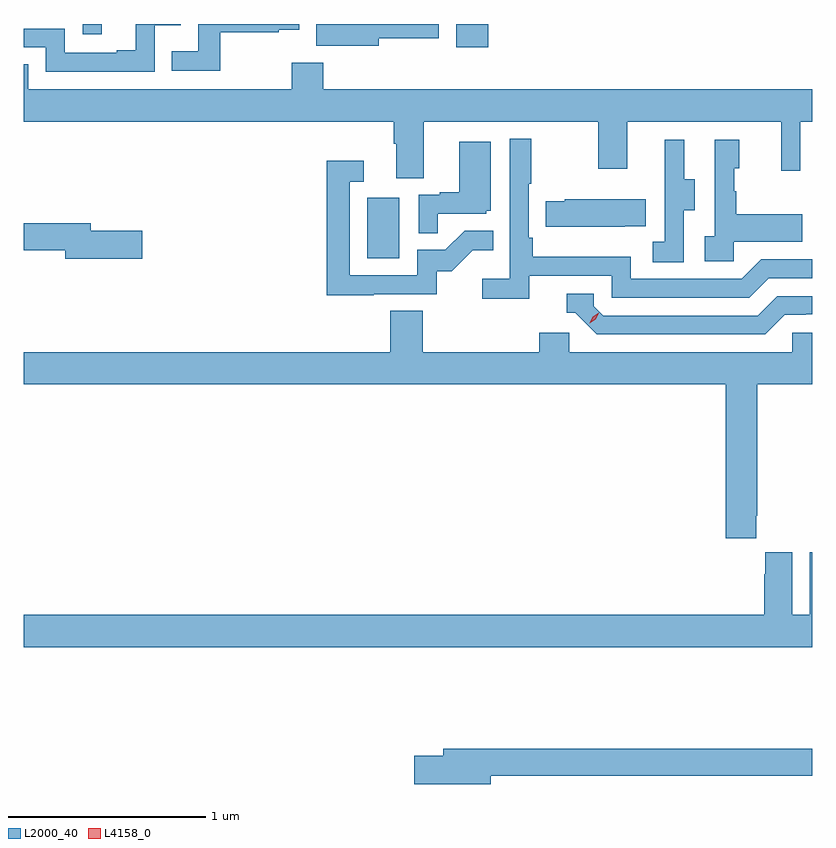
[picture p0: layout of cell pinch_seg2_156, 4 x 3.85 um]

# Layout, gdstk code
import gdstk
lib = gdstk.Library(unit=1e-6, precision=1e-09)
def R(c, l, rs):  # rectangles x0, y0, x1, y1
    for r in rs: c.add(gdstk.rectangle(r[:2], r[2:], *l))
def P(c, l, *ps):  # polygons
    for p in ps: c.add(gdstk.Polygon(p, *l))
L2000_40 = (2000, 40)
L4158_0 = (4158, 0)

pinch_seg2_156 = lib.new_cell('pinch_seg2_156')
R(pinch_seg2_156, L2000_40, [(1129.688,629.628,1129.852,629.935), (1130.141,630.696,1130.302,630.815), (1128.246,630.762,1128.343,630.815)])
P(pinch_seg2_156, L2000_40, [(1128.943,630.774),(1129.241,630.774),(1129.241,630.785),(1129.344,630.785),(1129.344,630.815),(1128.832,630.815),(1128.832,630.676),(1128.697,630.676),(1128.697,630.579),(1128.943,630.579)],
  [(1128.612,630.809),(1128.744,630.809),(1128.744,630.815),(1128.515,630.815),(1128.515,630.682),(1128.419,630.682),(1128.419,630.669),(1128.156,630.669),(1128.156,630.792),(1127.946,630.792),(1127.946,630.696),(1128.06,630.696),(1128.06,630.573),(1128.612,630.573)],
  [(1129.747,630.742),(1130.052,630.742),(1130.052,630.815),(1129.429,630.815),(1129.429,630.704),(1129.747,630.704)],
  [(1129.975,630.32),(1130.86,630.32),(1130.86,630.081),(1131.007,630.081),(1131.007,630.32),(1131.788,630.32),(1131.788,630.072),(1131.885,630.072),(1131.885,630.32),(1131.946,630.32),(1131.946,630.484),(1129.466,630.484),(1129.466,630.619),(1129.306,630.619),(1129.306,630.484),(1127.97,630.484),(1127.97,630.611),(1127.946,630.611),(1127.946,630.32),(1129.823,630.32),(1129.823,630.208),(1129.835,630.208),(1129.835,630.034),(1129.975,630.034)],
  [(1130.51,629.538),(1130.928,629.538),(1130.928,629.427),(1131.625,629.427),(1131.724,629.526),(1131.946,629.526),(1131.946,629.622),(1131.687,629.622),(1131.588,629.523),(1131.024,629.523),(1131.024,629.635),(1130.528,629.635),(1130.528,629.731),(1130.508,629.731),(1130.508,630.004),(1130.521,630.004),(1130.521,630.232),(1130.412,630.232),(1130.412,629.524),(1130.271,629.524),(1130.271,629.422),(1130.51,629.422)],
  [(1131.294,629.872),(1131.349,629.872),(1131.349,630.027),(1131.295,630.027),(1131.295,630.229),(1131.197,630.229),(1131.197,630.015),(1131.198,630.015),(1131.198,629.711),(1131.135,629.711),(1131.135,629.608),(1131.294,629.608)],
  [(1131.546,629.711),(1131.893,629.711),(1131.893,629.851),(1131.559,629.851),(1131.559,629.966),(1131.549,629.966),(1131.549,630.084),(1131.574,630.084),(1131.574,630.229),(1131.45,630.229),(1131.45,629.738),(1131.399,629.738),(1131.399,629.613),(1131.546,629.613)],
  [(1130.045,629.853),(1130.292,629.853),(1130.292,629.868),(1130.314,629.868),(1130.314,630.217),(1130.156,630.217),(1130.156,629.962),(1130.057,629.962),(1130.057,629.949),(1129.95,629.949),(1129.95,629.755),(1130.045,629.755)],
  [(1129.721,629.445),(1130.04,629.445),(1130.04,629.562),(1130.116,629.562),(1130.223,629.669),(1130.327,629.669),(1130.327,629.768),(1130.183,629.768),(1130.085,629.67),(1129.941,629.67),(1129.941,629.541),(1129.599,629.541),(1129.599,630.015),(1129.672,630.015),(1129.672,630.121),(1129.483,630.121),(1129.483,629.44),(1129.721,629.44)],
  [(1130.993,629.789),(1131.101,629.789),(1131.101,629.926),(1130.691,629.926),(1130.691,629.916),(1130.593,629.916),(1130.593,629.786),(1130.993,629.786)],
  [(1128.547,629.768),(1128.286,629.768),(1128.286,629.804),(1127.946,629.804),(1127.946,629.668),(1128.158,629.668),(1128.158,629.626),(1128.547,629.626)],
  [(1131.805,629.34),(1131.912,629.34),(1131.912,629.343),(1131.946,629.343),(1131.946,629.436),(1131.768,629.436),(1131.669,629.337),(1130.886,629.337),(1130.838,629.385),(1130.838,629.448),(1130.699,629.448),(1130.699,629.352),(1130.742,629.352),(1130.853,629.241),(1131.706,629.241)],
  [(1131.661,628.321),(1131.666,628.321),(1131.666,628.988),(1131.946,628.988),(1131.946,629.25),(1131.843,629.25),(1131.843,629.152),(1130.712,629.152),(1130.712,629.25),(1130.561,629.25),(1130.561,629.152),(1129.97,629.152),(1129.97,629.36),(1129.805,629.36),(1129.805,629.152),(1127.946,629.152),(1127.946,628.988),(1131.506,628.988),(1131.506,628.209),(1131.661,628.209)],
  [(1131.946,628.138),(1131.932,628.138),(1131.932,627.82),(1131.844,627.82),(1131.844,628.138),(1131.707,628.138),(1131.707,628.025),(1131.701,628.025),(1131.701,627.82),(1127.946,627.82),(1127.946,627.656),(1131.946,627.656)],
  [(1130.314,627.004),(1131.946,627.004),(1131.946,627.14),(1130.075,627.14),(1130.075,627.104),(1129.926,627.104),(1129.926,626.962),(1130.314,626.962)])
P(pinch_seg2_156, L4158_0, [(1130.817,629.297),(1130.817,629.297),(1130.833,629.33),(1130.863,629.35),(1130.863,629.35),(1130.863,629.35),(1130.848,629.317),(1130.817,629.297)])

lib.write_gds('pinch_seg2_156.gds')
